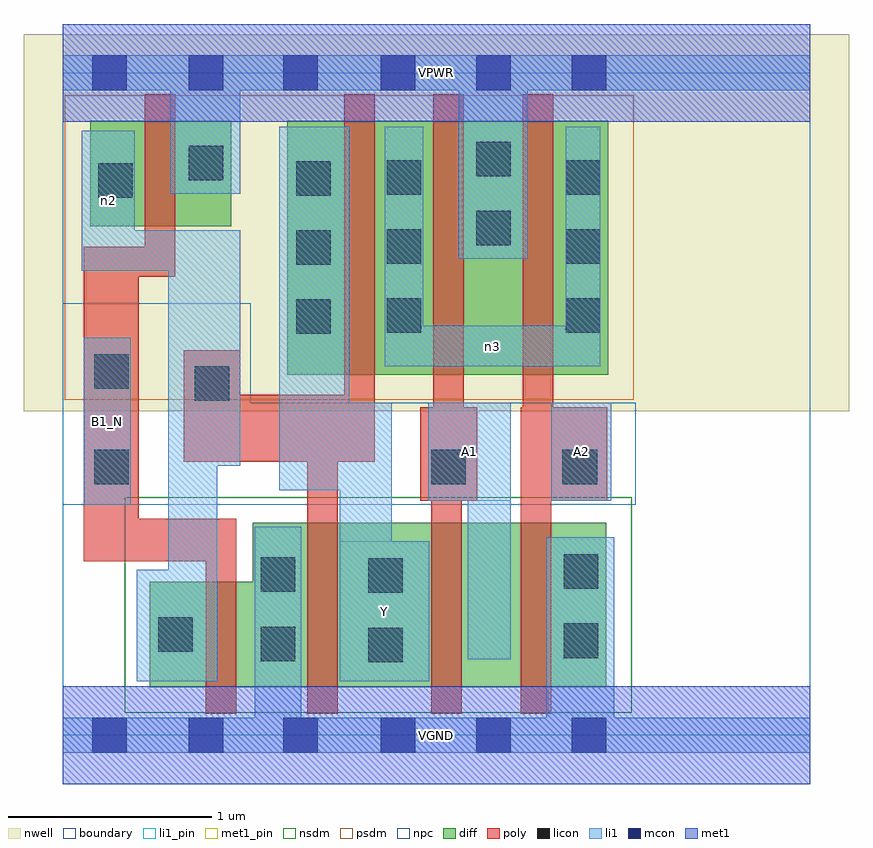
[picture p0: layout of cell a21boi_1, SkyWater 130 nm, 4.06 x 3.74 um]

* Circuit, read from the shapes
.subckt a21boi_1 A1 A2 B1_N VGND VPWR Y n2 n3
XM1 VGND B1_N n2 VSUBS sky130_fd_pr__nfet_01v8 w=0.52 l=0.15
XM2 Y n2 VGND VSUBS sky130_fd_pr__nfet_01v8 w=0.81 l=0.15
XM3 n1 A1 Y VSUBS sky130_fd_pr__nfet_01v8 w=0.81 l=0.15
XM4 VGND A2 n1 VSUBS sky130_fd_pr__nfet_01v8 w=0.81 l=0.15
XM5 VPWR B1_N n2 n4 sky130_fd_pr__pfet_01v8 w=0.52 l=0.15
XM6 n3 n2 Y n4 sky130_fd_pr__pfet_01v8 w=1.25 l=0.15
XM7 VPWR A1 n3 n4 sky130_fd_pr__pfet_01v8 w=1.25 l=0.15
XM8 n3 A2 VPWR n4 sky130_fd_pr__pfet_01v8 w=1.25 l=0.15
.ends

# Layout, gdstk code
import gdstk
lib = gdstk.Library(unit=1e-6, precision=1e-09)
def R(c, l, rs):  # rectangles x0, y0, x1, y1
    for r in rs: c.add(gdstk.rectangle(r[:2], r[2:], *l))
def A(c, l, x, y, w, h, nx, ny, dx, dy):  # array of equal rectangles
    R(c, l, [(x+i*dx, y+j*dy, x+i*dx+w, y+j*dy+h) for i in range(nx) for j in range(ny)])
nwell = (64, 20)
diff = (65, 20)
poly = (66, 20)
licon = (66, 44)
li1_pin = (67, 16)
li1 = (67, 20)
mcon = (67, 44)
met1_pin = (68, 16)
met1 = (68, 20)
nsdm = (93, 44)
psdm = (94, 20)
npc = (95, 20)
boundary = (235, 4)

a21boi_1 = lib.new_cell('a21boi_1')
R(a21boi_1, nwell, [(-0.19,1.595,3.87,3.45), (0,1.595,3.68,3.45)])
R(a21boi_1, diff, [(0.43,0.235,2.675,0.755), (0.935,0.235,2.675,1.045), (1.105,1.775,2.685,3.025), (0.135,2.505,0.83,3.025)])
R(a21boi_1, poly, [(0.705,0.105,0.855,1.065), (1.205,0.105,1.355,1.675), (1.815,0.105,1.965,1.615), (2.255,0.105,2.405,1.615), (0.105,0.855,0.375,2.405), (0.105,0.855,0.855,1.065), (1.76,1.155,2.04,1.615), (1.825,1.155,1.975,3.155), (2.255,1.155,2.68,1.615), (2.265,1.155,2.415,3.155), (0.595,1.345,1.535,1.675), (0.595,1.345,0.875,1.895), (1.385,1.345,1.535,3.155), (0.105,2.255,0.555,2.405), (0.405,2.255,0.555,3.155)])
A(a21boi_1, licon, 1.15, 1.975, 0.17, 0.17, 1, 3, 0, 0.34)
A(a21boi_1, licon, 1.595, 1.98, 0.17, 0.17, 1, 3, 0, 0.34)
A(a21boi_1, licon, 2.475, 1.98, 0.17, 0.17, 1, 3, 0, 0.34)
R(a21boi_1, licon, [(1.505,0.36,1.675,0.53), (0.975,0.365,1.145,0.535), (2.465,0.38,2.635,0.55), (0.47,0.41,0.64,0.58), (1.505,0.7,1.675,0.87), (0.975,0.705,1.145,0.875), (2.465,0.72,2.635,0.89), (0.155,1.235,0.325,1.405), (1.815,1.235,1.985,1.405), (2.46,1.235,2.63,1.405), (0.65,1.645,0.82,1.815), (0.155,1.705,0.325,1.875), (2.035,2.41,2.205,2.58), (0.175,2.645,0.345,2.815), (0.62,2.73,0.79,2.9), (2.035,2.75,2.205,2.92)])
R(a21boi_1, li1_pin, [(1.365,0.265,1.805,0.955), (0.105,1.135,0.335,1.955), (1.8,1.155,2.205,1.635), (2.405,1.155,2.7,1.635)])
R(a21boi_1, li1, [(0,-0.085,3.68,0.085), (0.945,-0.085,1.175,1.025), (2.38,-0.085,2.715,0.975), (0.365,0.265,0.76,0.815), (0.52,0.265,0.76,2.485), (1.365,0.265,1.62,1.635), (1.365,0.265,1.805,0.955), (1.995,0.375,2.205,1.635), (0.105,1.135,0.335,1.955), (1.8,1.155,2.205,1.635), (2.405,1.155,2.7,1.635), (1.065,1.205,1.41,2.995), (0.52,1.325,0.875,2.485), (1.585,1.815,2.645,2.015), (1.585,1.815,1.775,2.995), (2.475,1.815,2.645,2.995), (0.095,2.285,0.355,2.975), (0.095,2.285,0.875,2.485), (1.95,2.345,2.29,3.345), (0.53,2.665,0.875,3.345), (0,3.175,3.68,3.345)])
A(a21boi_1, mcon, 1.565, -0.085, 0.17, 0.17, 3, 2, 0.47, 3.26)
R(a21boi_1, mcon, [(0.145,-0.085,0.315,0.085), (0.62,-0.085,0.79,0.085), (1.085,-0.085,1.255,0.085), (0.145,3.175,0.315,3.345), (0.62,3.175,0.79,3.345), (1.085,3.175,1.255,3.345)])
R(a21boi_1, met1_pin, [(0,-0.24,3.68,0.24), (0,3.02,3.68,3.5)])
R(a21boi_1, met1, [(0,-0.24,3.68,0.24), (0,3.02,3.68,3.5)])
R(a21boi_1, nsdm, [(0.305,0.11,2.8,1.17)])
R(a21boi_1, psdm, [(0.01,1.65,2.81,3.15)])
R(a21boi_1, npc, [(0,1.135,2.82,1.635), (0,1.135,0.925,2.125)])
R(a21boi_1, boundary, [(0,0,3.68,3.26)])
a21boi_1.add(gdstk.Label('A1', (2.002,1.395), layer=67, texttype=5))
a21boi_1.add(gdstk.Label('A2', (2.552,1.395), layer=67, texttype=5))
a21boi_1.add(gdstk.Label('B1_N', (0.22,1.545), layer=67, texttype=5))
a21boi_1.add(gdstk.Label('Y', (1.585,0.61), layer=67, texttype=5))
a21boi_1.add(gdstk.Label('n2', (0.225,2.63), layer=67, texttype=5))
a21boi_1.add(gdstk.Label('n3', (2.115,1.915), layer=67, texttype=5))
a21boi_1.add(gdstk.Label('VPWR', (1.84,3.26), layer=68, texttype=5))
a21boi_1.add(gdstk.Label('VGND', (1.84,0), layer=68, texttype=5))
a21boi_1.add(gdstk.Label('A1', (2.002,1.395), layer=67, texttype=16))
a21boi_1.add(gdstk.Label('A2', (2.552,1.395), layer=67, texttype=16))
a21boi_1.add(gdstk.Label('B1_N', (0.22,1.545), layer=67, texttype=16))
a21boi_1.add(gdstk.Label('Y', (1.585,0.61), layer=67, texttype=16))
a21boi_1.add(gdstk.Label('VPWR', (1.84,3.26), layer=68, texttype=16))
a21boi_1.add(gdstk.Label('VGND', (1.84,0), layer=68, texttype=16))

lib.write_gds('a21boi_1.gds')
